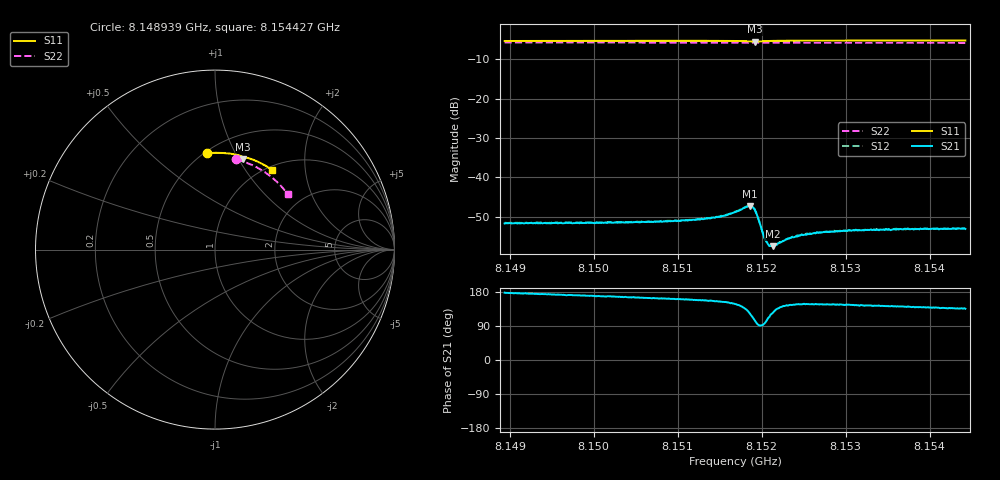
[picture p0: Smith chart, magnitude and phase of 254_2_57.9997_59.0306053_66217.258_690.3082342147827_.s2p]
#  HZ  S  RI  R  50.00
! Rohde & Schwarz Vector Network Analyzer
! Rohde-Schwarz,ZNB20-2Port,1311601062101988,3.16
! Created: UTC 3/21/2024, 1:01:41 AM
! freq[Hz]  re:S11  im:S11  re:S21  im:S21  re:S12  im:S12  re:S22  im:S22
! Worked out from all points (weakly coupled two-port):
!   401 points, 8.148939 GHz to 8.154427 GHz, reference 50 ohm
!   highest |S21| = -47.23 dB at 8.151861 GHz (marker M1); lowest = -57.4 dB at 8.152136 GHz (marker M2)
!   lowest |S11| = -5.5 dB at 8.151916 GHz (marker M3), VSWR 3.24, Z = 37.3 + j52.3 ohm
!   |S11| at or under -10 dB: nowhere
!   |S22| runs from -5.9 to -5.7 dB; largest |S21 - S12| = 0.00012
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8.1489387e9  -0.0444 0.5363  -0.00261 0.000107  -0.00267 0.000204  0.1191 0.5021
8.149858e9  0.0197 0.5393  -0.0026 0.000451  -0.00265 0.000539  0.1763 0.4841
8.1507774e9  0.084 0.5345  -0.00262 0.000849  -0.00265 0.000882  0.2303 0.4595
8.1510244e9  0.1012 0.5318  -0.00264 0.000918  -0.00264 0.000997  0.2444 0.452
8.1513675e9  0.1256 0.5268  -0.0028 0.00124  -0.00278 0.00126  0.2636 0.4406
8.1515321e9  0.1376 0.5236  -0.00289 0.00145  -0.0029 0.00147  0.2723 0.435
8.1516831e9  0.149 0.5193  -0.00307 0.00192  -0.00308 0.00201  0.2804 0.4293
8.1518203e9  0.1584 0.5111  -0.00288 0.00311  -0.00289 0.00318  0.2876 0.4242
8.1518614e9  0.1593 0.5076  -0.00232 0.00368  -0.00232 0.00372  0.2897 0.4225
8.1518889e9  0.1582 0.5056  -0.00173 0.00389  -0.00169 0.00392  0.2909 0.4214
8.1519163e9  0.1567 0.5047  -0.00102 0.00382  -0.000969 0.00383  0.2922 0.4205
8.1519438e9  0.1554 0.5057  -0.00038 0.00336  -0.00036 0.0034  0.2935 0.4196
8.1520124e9  0.1571 0.5105  -7.03e-05 0.00201  -5.31e-05 0.00198  0.2971 0.4174
8.1520536e9  0.1606 0.5123  -0.000313 0.00152  -0.00029 0.00153  0.2993 0.4158
8.1520947e9  0.164 0.5131  -0.000555 0.00123  -0.000568 0.00123  0.3014 0.4142
8.1521359e9  0.1679 0.5132  -0.000774 0.0011  -0.000792 0.00112  0.3036 0.4127
8.1523143e9  0.1821 0.5108  -0.00136 0.001  -0.00134 0.00099  0.3128 0.4056
8.1523966e9  0.1881 0.509  -0.00146 0.000981  -0.00147 0.00102  0.3168 0.4024
8.1526024e9  0.2024 0.5043  -0.00163 0.00105  -0.00165 0.00107  0.3269 0.3938
8.1530278e9  0.2305 0.4932  -0.00176 0.00118  -0.00175 0.00122  0.3471 0.3755
8.1535218e9  0.2616 0.4783  -0.00174 0.00135  -0.00171 0.00138  0.369 0.3529
8.1544275e9  0.3153 0.4462  -0.00158 0.00157  -0.00161 0.00161  0.4054 0.3086
